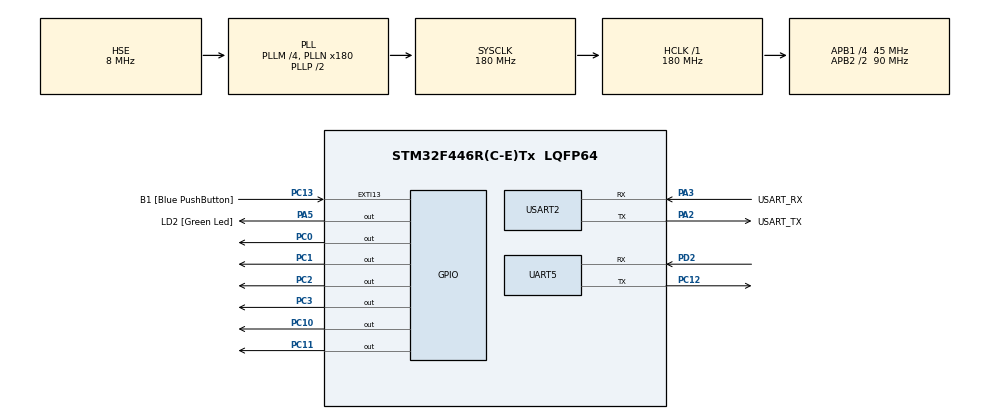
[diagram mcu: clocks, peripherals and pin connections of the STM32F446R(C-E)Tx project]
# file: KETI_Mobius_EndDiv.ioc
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Mcu.Family=STM32F4
Mcu.Name=STM32F446R(C-E)Tx
Mcu.Package=LQFP64
NVIC.PriorityGroup=NVIC_PRIORITYGROUP_0
NVIC.TIM2_IRQn=true\:0\:0\:false\:false\:true
NVIC.TIM3_IRQn=true\:0\:0\:false\:false\:true
NVIC.TIM4_IRQn=true\:0\:0\:false\:false\:true
NVIC.UART5_IRQn=true\:0\:2\:false\:false\:true
NVIC.USART2_IRQn=true\:0\:0\:false\:false\:true
PA13.GPIO_Label=TMS
PA13.Signal=SYS_JTMS-SWDIO
PA14.GPIO_Label=TCK
PA14.Signal=SYS_JTCK-SWCLK
PA2.GPIO_Label=USART_TX
PA2.Mode=Asynchronous
PA2.Signal=USART2_TX
PA3.GPIO_Label=USART_RX
PA3.Mode=Asynchronous
PA3.Signal=USART2_RX
PA5.GPIO_Label=LD2 [Green Led]
PA5.Signal=GPIO_Output
PB3.GPIO_Label=SWO
PB3.Signal=SYS_JTDO-SWO
PC0.Signal=GPIO_Output
PC1.Signal=GPIO_Output
PC10.Signal=GPIO_Output
PC11.Signal=GPIO_Output
PC12.Mode=Asynchronous
PC12.Signal=UART5_TX
PC13.GPIO_Label=B1 [Blue PushButton]
PC13.GPIO_ModeDefaultEXTI=GPIO_MODE_EVT_RISING
PC13.Signal=GPXTI13
PC14-OSC32_IN.Signal=RCC_OSC32_IN
PC15-OSC32_OUT.Signal=RCC_OSC32_OUT
PC2.Signal=GPIO_Output
PC3.Signal=GPIO_Output
PD2.Mode=Asynchronous
PD2.Signal=UART5_RX
PH0-OSC_IN.Mode=HSE-External-Oscillator
PH0-OSC_IN.Signal=RCC_OSC_IN
PH1-OSC_OUT.Mode=HSE-External-Oscillator
PH1-OSC_OUT.Signal=RCC_OSC_OUT
ProjectManager.HeapSize=0x200
ProjectManager.StackSize=0x400
ProjectManager.TargetToolchain=TrueSTUDIO
RCC.AHBFreq_Value=180000000
RCC.APB1CLKDivider=RCC_HCLK_DIV4
RCC.APB1Freq_Value=45000000
RCC.APB1TimFreq_Value=90000000
RCC.APB2CLKDivider=RCC_HCLK_DIV2
RCC.APB2Freq_Value=90000000
RCC.APB2TimFreq_Value=180000000
RCC.CortexFreq_Value=180000000
RCC.FLatency-AdvancedSettings=FLASH_LATENCY_5
RCC.HCLKFreq_Value=180000000
RCC.HSE_VALUE=8000000
RCC.HSI_VALUE=16000000
RCC.LSE_VALUE=32768
RCC.PLLM=4
RCC.PLLN=180
RCC.PLLSourceVirtual=RCC_PLLSOURCE_HSE
RCC.SYSCLKFreq_VALUE=180000000
RCC.SYSCLKSource=RCC_SYSCLKSOURCE_PLLCLK
RCC.USBFreq_Value=180000000
RCC.VCOOutputFreq_Value=360000000
TIM2.Period=29999
TIM2.Prescaler=9000
TIM3.Period=4999
TIM3.Prescaler=9000
TIM4.Period=999
TIM4.Prescaler=9000
VP_TIM2_VS_ClockSourceINT.Mode=Internal
VP_TIM3_VS_ClockSourceINT.Mode=Internal
VP_TIM4_VS_ClockSourceINT.Mode=Internal
board=NUCLEO-F446RE

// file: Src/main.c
/**
  ******************************************************************************
  * File Name          : main.c
  * Description        : Main program body
  ******************************************************************************
  *
  * COPYRIGHT(c) 2016 STMicroelectronics
  *
  * Redistribution and use in source and binary forms, with or without modification,
  * are permitted provided that the following conditions are met:
  *   1. Redistributions of source code must retain the above copyright notice,
  *      this list of conditions and the following disclaimer.
  *   2. Redistributions in binary form must reproduce the above copyright notice,
  *      this list of conditions and the following disclaimer in the documentation
  *      and/or other materials provided with the distribution.
  *   3. Neither the name of STMicroelectronics nor the names of its contributors
  *      may be used to endorse or promote products derived from this software
  *      without specific prior written permission.
  *
  * THIS SOFTWARE IS PROVIDED BY THE COPYRIGHT HOLDERS AND CONTRIBUTORS "AS IS"
  * AND ANY EXPRESS OR IMPLIED WARRANTIES, INCLUDING, BUT NOT LIMITED TO, THE
  * IMPLIED WARRANTIES OF MERCHANTABILITY AND FITNESS FOR A PARTICULAR PURPOSE ARE
  * DISCLAIMED. IN NO EVENT SHALL THE COPYRIGHT HOLDER OR CONTRIBUTORS BE LIABLE
  * FOR ANY DIRECT, INDIRECT, INCIDENTAL, SPECIAL, EXEMPLARY, OR CONSEQUENTIAL
  * DAMAGES (INCLUDING, BUT NOT LIMITED TO, PROCUREMENT OF SUBSTITUTE GOODS OR
  * SERVICES; LOSS OF USE, DATA, OR PROFITS; OR BUSINESS INTERRUPTION) HOWEVER
  * CAUSED AND ON ANY THEORY OF LIABILITY, WHETHER IN CONTRACT, STRICT LIABILITY,
  * OR TORT (INCLUDING NEGLIGENCE OR OTHERWISE) ARISING IN ANY WAY OUT OF THE USE
  * OF THIS SOFTWARE, EVEN IF ADVISED OF THE POSSIBILITY OF SUCH DAMAGE.
  *
  ******************************************************************************
  */
#include "stm32f4xx_hal.h"

/* USER CODE BEGIN Includes */
/* This code created for KETI Mobius platForm. */
/* 2016. 9.20. Lee So Haeng                    */
#include <stdio.h>
#include <string.h>
#include "tlcd.h"
#include "Base64.h"
/* USER CODE END Includes */

TIM_HandleTypeDef htim2;
TIM_HandleTypeDef htim3;
TIM_HandleTypeDef htim4;

UART_HandleTypeDef huart5;
UART_HandleTypeDef huart2;

/* USER CODE BEGIN PV */
/* Private variables ---------------------------------------------------------*/
uint8_t 	Rx_Data2[2];            // uart2 receive data buffer
uint8_t 	Rx_Data5[2];            // uart5 receive data buffer
uint8_t		Rx_Buffer[150];
                             //1234567890123456789012345678901
#define     TLCD_DATA	31
char 		KETI[TLCD_DATA] = "+* KETI Mobius platform Demo *+";
char 		KETIb[TLCD_DATA];

char 		DemoData[3][127] = { "at+data=8001ED:{\"id\":\"NODE1\",\"con\":\"123456789012345678901234567890123456789012345678901234567890123456789012345678901234567\"}\r\n",
							     "at+data=8001ED:{\"id\":\"NODE3\",\"con\":\"123456789012345678901234567890123456789012345678901234567890123456789012345678901234567\"}\r\n",
							     "at+data=8001ED:{\"id\":\"NODE4\",\"con\":\"123456789012345678901234567890123456789012345678901234567890123456789012345678901234567\"}\r\n"
						      };
/*
char 		DemoData[3][79] = {  "at+data=000194:{\"id\":\"NODE1\",\"con\":\"010203040506070809101qaz2wsx3edc4rfhy6y\"}\r\n",
							     "at+data=000194:{\"id\":\"NODE3\",\"con\":\"ABCDEFGHIJKLNMOPQRSTUVWXYZ!@#$%^&*()098\"}\r\n",
							     "at+data=000194:{\"id\":\"NODE4\",\"con\":\"12.34,34.23,05.55,90.88,87.90,1.234,897\"}\r\n"
						      }; */

// 디바이스의 시리얼번호를 확인할것...

volatile uint8_t     	TLCD_ON = 0;   //  Must volatile var!!
volatile uint8_t		TLCD_LS = 0;   //  Must volatile var!!
volatile uint8_t		Transfer2 = 0,Transfer5 = 0, DemoCnt = 0;
uint8_t					cnt,Rx_Data5_cnt = 0;
int 					len, elen;
unsigned char 			*e,*f,dt[105];

/* USER CODE END PV */

void SystemClock_Config(void);
void Error_Handler(void);
static void MX_GPIO_Init(void);
static void MX_TIM2_Init(void);
static void MX_TIM3_Init(void);
static void MX_TIM4_Init(void);
static void MX_UART5_Init(void);
static void MX_USART2_UART_Init(void);

/* USER CODE BEGIN PFP */
/* Private function prototypes -----------------------------------------------*/
void HAL_UART_RxCpltCallback(UART_HandleTypeDef *huart);
void HAL_TIM_PeriodElapsedCallback(TIM_HandleTypeDef *htim);

/* USER CODE END PFP */

/* USER CODE BEGIN 0 */
void HAL_UART_RxCpltCallback(UART_HandleTypeDef *huart)
{
	uint8_t buf_v, n;

	if(huart->Instance==USART2){
		HAL_UART_Transmit(&huart2,(uint8_t *)Rx_Data2, 1,1000000);
		HAL_UART_Receive_IT(&huart2,(uint8_t *)Rx_Data2, 1);
	}
	else if(huart->Instance==UART5){
		if(Rx_Data5_cnt==0) for(n=0;n<150;n++) Rx_Buffer[n] = 0x00;
		buf_v = Rx_Data5[0];
		if(buf_v!='\n' && buf_v!=0x00) {
			Rx_Buffer[Rx_Data5_cnt++] = buf_v;
		}
		else if(buf_v=='\n'){
			Rx_Buffer[Rx_Data5_cnt] = buf_v;
			Transfer5 = 1;
			Rx_Data5_cnt = 0;
		}
		HAL_UART_Receive_IT(&huart5,(uint8_t *)Rx_Data5, 1);
	}
}

void HAL_TIM_PeriodElapsedCallback(TIM_HandleTypeDef *htim)
{
	uint8_t snum = 0;

	if(htim->Instance==TIM2) {       // 1 sec interrupt
		if(DemoCnt==3) DemoCnt = 0;
		//HAL_UART_Transmit(&huart5,(uint8_t *)&DemoData[DemoCnt],79,1000000);
		HAL_UART_Transmit(&huart5,(uint8_t *)&dt,105,1000000);
		DemoCnt++;
	}
	else if(htim->Instance==TIM3) {  // 0.5 sec interrupt
		HAL_GPIO_TogglePin(LD2_GPIO_Port, LD2_Pin);
		if(TLCD_LS==TLCD_DATA) TLCD_LS = 0;
		for(cnt=TLCD_LS;cnt<TLCD_DATA;cnt++) {
			KETIb[snum++] = KETI[cnt];
		}
		for(cnt=0;cnt<TLCD_LS;cnt++) {
			KETIb[snum++] = KETI[cnt];
		}
		TLCD_LS++;
		TLCD_ON = 1;
	}
	else if(htim->Instance==TIM4) {  // 0.1 sec interrupt
		  //HAL_GPIO_TogglePin(LD2_GPIO_Port, LD2_Pin);
	}
}

/* USER CODE END 0 */

int main(void)
{
	unsigned char snd_str[65]= {0x01,0x01,0x02,0x00,};

  /* MCU Configuration----------------------------------------------------------*/

  /* Reset of all peripherals, Initializes the Flash interface and the Systick. */
  HAL_Init();

  /* Configure the system clock */
  SystemClock_Config();

  /* Initialize all configured peripherals */
  MX_GPIO_Init();
  MX_TIM2_Init();
  MX_TIM3_Init();
  MX_TIM4_Init();
  MX_UART5_Init();
  MX_USART2_UART_Init();

  /* USER CODE BEGIN 2 */

  memset(dt,0x00,105);
  memcpy(dt,"at+data=0001A5:",15);
  e = base64_encode(snd_str,65,&elen);
  memcpy(dt+15,e+0,88);
  dt[103] = '\r';
  dt[104] = '\n';

 	//DemoData[0][77] = DemoData[1][77] = DemoData[2][77] = '\r';
 	//DemoData[0][78] = DemoData[1][78] = DemoData[2][78] = '\n';

 	// 1byte가 전송될때마다 인터럽트 발생.
	while(HAL_UART_Receive_IT(&huart2, (uint8_t *)Rx_Data2, 1)!=HAL_OK);
	while(HAL_UART_Receive_IT(&huart5, (uint8_t *)Rx_Data5, 1)!=HAL_OK);
	while(HAL_TIM_Base_Start_IT(&htim2)!=HAL_OK);
	while(HAL_TIM_Base_Start_IT(&htim3)!=HAL_OK);
	while(HAL_TIM_Base_Start_IT(&htim4)!=HAL_OK);

	// LCD사용을 위해 GPIOC를 사용. RS,E, D4,D5,D6,D7
	TLCD_Init(GPIOC,GPIO_PIN_10,GPIO_PIN_11,GPIO_PIN_0,GPIO_PIN_1,GPIO_PIN_2,GPIO_PIN_3);
	TLCD_Puts(1,0,"****************");
	TLCD_Puts(2,0,"* LoRA  Device *");

  /* USER CODE END 2 */
	HAL_UART_Transmit(&huart2,(uint8_t *)"This is \r\n",10,1000000);
  /* Infinite loop */
  while (1)
  {

  /* USER CODE BEGIN 3 */
	  if(TLCD_ON) {
		  TLCD_Puts(1,0,KETIb);
		  TLCD_ON = 0;
	  }
	  HAL_UART_Transmit(&huart2,(uint8_t *)e,88,1000000);
	  HAL_Delay(1000000);
	  // uart5에서 데이터가 전송되면 가공후 usart2로 전송한다.
	  if(Transfer5 == 1) {
		  HAL_UART_Transmit(&huart2,(uint8_t *)Rx_Buffer,strlen((char *)Rx_Buffer),1000000);
		  Transfer5 = 0;
	  }

  }
  /* USER CODE END 3 */

}

/** System Clock Configuration
*/
void SystemClock_Config(void)
{

  RCC_OscInitTypeDef RCC_OscInitStruct;
  RCC_ClkInitTypeDef RCC_ClkInitStruct;

  __HAL_RCC_PWR_CLK_ENABLE();

  __HAL_PWR_VOLTAGESCALING_CONFIG(PWR_REGULATOR_VOLTAGE_SCALE1);

  RCC_OscInitStruct.OscillatorType = RCC_OSCILLATORTYPE_HSE;
  RCC_OscInitStruct.HSEState = RCC_HSE_ON;
  RCC_OscInitStruct.PLL.PLLState = RCC_PLL_ON;
  RCC_OscInitStruct.PLL.PLLSource = RCC_PLLSOURCE_HSE;
  RCC_OscInitStruct.PLL.PLLM = 4;
  RCC_OscInitStruct.PLL.PLLN = 180;
  RCC_OscInitStruct.PLL.PLLP = RCC_PLLP_DIV2;
  RCC_OscInitStruct.PLL.PLLQ = 2;
  RCC_OscInitStruct.PLL.PLLR = 2;
  if (HAL_RCC_OscConfig(&RCC_OscInitStruct) != HAL_OK)
  {
    Error_Handler();
  }

  if (HAL_PWREx_EnableOverDrive() != HAL_OK)
  {
    Error_Handler();
  }

  RCC_ClkInitStruct.ClockType = RCC_CLOCKTYPE_HCLK|RCC_CLOCKTYPE_SYSCLK
                              |RCC_CLOCKTYPE_PCLK1|RCC_CLOCKTYPE_PCLK2;
  RCC_ClkInitStruct.SYSCLKSource = RCC_SYSCLKSOURCE_PLLCLK;
  RCC_ClkInitStruct.AHBCLKDivider = RCC_SYSCLK_DIV1;
  RCC_ClkInitStruct.APB1CLKDivider = RCC_HCLK_DIV4;
  RCC_ClkInitStruct.APB2CLKDivider = RCC_HCLK_DIV2;
  if (HAL_RCC_ClockConfig(&RCC_ClkInitStruct, FLASH_LATENCY_5) != HAL_OK)
  {
    Error_Handler();
  }

  HAL_SYSTICK_Config(HAL_RCC_GetHCLKFreq()/1000000);

  HAL_SYSTICK_CLKSourceConfig(SYSTICK_CLKSOURCE_HCLK);

  /* SysTick_IRQn interrupt configuration */
  HAL_NVIC_SetPriority(SysTick_IRQn, 0, 0);
}

/* TIM2 init function */
static void MX_TIM2_Init(void)
{

  TIM_ClockConfigTypeDef sClockSourceConfig;
  TIM_MasterConfigTypeDef sMasterConfig;

  htim2.Instance = TIM2;
  htim2.Init.Prescaler = 9000;
  htim2.Init.CounterMode = TIM_COUNTERMODE_UP;
  htim2.Init.Period = 49999;
  htim2.Init.ClockDivision = TIM_CLOCKDIVISION_DIV1;
  if (HAL_TIM_Base_Init(&htim2) != HAL_OK)
  {
    Error_Handler();
  }

  sClockSourceConfig.ClockSource = TIM_CLOCKSOURCE_INTERNAL;
  if (HAL_TIM_ConfigClockSource(&htim2, &sClockSourceConfig) != HAL_OK)
  {
    Error_Handler();
  }

  sMasterConfig.MasterOutputTrigger = TIM_TRGO_RESET;
  sMasterConfig.MasterSlaveMode = TIM_MASTERSLAVEMODE_DISABLE;
  if (HAL_TIMEx_MasterConfigSynchronization(&htim2, &sMasterConfig) != HAL_OK)
  {
    Error_Handler();
  }

}

/* TIM3 init function */
static void MX_TIM3_Init(void)
{

  TIM_ClockConfigTypeDef sClockSourceConfig;
  TIM_MasterConfigTypeDef sMasterConfig;

  htim3.Instance = TIM3;
  htim3.Init.Prescaler = 9000;
  htim3.Init.CounterMode = TIM_COUNTERMODE_UP;
  htim3.Init.Period = 4999;
  htim3.Init.ClockDivision = TIM_CLOCKDIVISION_DIV1;
  if (HAL_TIM_Base_Init(&htim3) != HAL_OK)
  {
    Error_Handler();
  }

  sClockSourceConfig.ClockSource = TIM_CLOCKSOURCE_INTERNAL;
  if (HAL_TIM_ConfigClockSource(&htim3, &sClockSourceConfig) != HAL_OK)
  {
    Error_Handler();
  }

  sMasterConfig.MasterOutputTrigger = TIM_TRGO_RESET;
  sMasterConfig.MasterSlaveMode = TIM_MASTERSLAVEMODE_DISABLE;
  if (HAL_TIMEx_MasterConfigSynchronization(&htim3, &sMasterConfig) != HAL_OK)
  {
    Error_Handler();
  }

}

/* TIM4 init function */
static void MX_TIM4_Init(void)
{

  TIM_ClockConfigTypeDef sClockSourceConfig;
  TIM_MasterConfigTypeDef sMasterConfig;

  htim4.Instance = TIM4;
  htim4.Init.Prescaler = 9000;
  htim4.Init.CounterMode = TIM_COUNTERMODE_UP;
  htim4.Init.Period = 999;
  htim4.Init.ClockDivision = TIM_CLOCKDIVISION_DIV1;
  if (HAL_TIM_Base_Init(&htim4) != HAL_OK)
  {
    Error_Handler();
  }

  sClockSourceConfig.ClockSource = TIM_CLOCKSOURCE_INTERNAL;
  if (HAL_TIM_ConfigClockSource(&htim4, &sClockSourceConfig) != HAL_OK)
  {
    Error_Handler();
  }

  sMasterConfig.MasterOutputTrigger = TIM_TRGO_RESET;
  sMasterConfig.MasterSlaveMode = TIM_MASTERSLAVEMODE_DISABLE;
  if (HAL_TIMEx_MasterConfigSynchronization(&htim4, &sMasterConfig) != HAL_OK)
  {
    Error_Handler();
  }

}

/* UART5 init function */
static void MX_UART5_Init(void)
{

  huart5.Instance = UART5;
  huart5.Init.BaudRate = 115200;
  huart5.Init.WordLength = UART_WORDLENGTH_8B;
  huart5.Init.StopBits = UART_STOPBITS_1;
  huart5.Init.Parity = UART_PARITY_NONE;
  huart5.Init.Mode = UART_MODE_TX_RX;
  huart5.Init.HwFlowCtl = UART_HWCONTROL_NONE;
  huart5.Init.OverSampling = UART_OVERSAMPLING_16;
  if (HAL_UART_Init(&huart5) != HAL_OK)
  {
    Error_Handler();
  }

}

/* USART2 init function */
static void MX_USART2_UART_Init(void)
{

  huart2.Instance = USART2;
  huart2.Init.BaudRate = 115200;
  huart2.Init.WordLength = UART_WORDLENGTH_8B;
  huart2.Init.StopBits = UART_STOPBITS_1;
  huart2.Init.Parity = UART_PARITY_NONE;
  huart2.Init.Mode = UART_MODE_TX_RX;
  huart2.Init.HwFlowCtl = UART_HWCONTROL_NONE;
  huart2.Init.OverSampling = UART_OVERSAMPLING_16;
  if (HAL_UART_Init(&huart2) != HAL_OK)
  {
    Error_Handler();
  }

}

/** Configure pins as
        * Analog
        * Input
        * Output
        * EVENT_OUT
        * EXTI
*/
static void MX_GPIO_Init(void)
{

  GPIO_InitTypeDef GPIO_InitStruct;

  /* GPIO Ports Clock Enable */
  __HAL_RCC_GPIOC_CLK_ENABLE();
  __HAL_RCC_GPIOH_CLK_ENABLE();
  __HAL_RCC_GPIOA_CLK_ENABLE();
  __HAL_RCC_GPIOD_CLK_ENABLE();
  __HAL_RCC_GPIOB_CLK_ENABLE();

  /*Configure GPIO pin : B1_Pin */
  GPIO_InitStruct.Pin = B1_Pin;
  GPIO_InitStruct.Mode = GPIO_MODE_EVT_RISING;
  GPIO_InitStruct.Pull = GPIO_NOPULL;
  HAL_GPIO_Init(B1_GPIO_Port, &GPIO_InitStruct);

  /*Configure GPIO pins : PC0 PC1 PC2 PC3
                           PC10 PC11 */
  GPIO_InitStruct.Pin = GPIO_PIN_0|GPIO_PIN_1|GPIO_PIN_2|GPIO_PIN_3
                          |GPIO_PIN_10|GPIO_PIN_11;
  GPIO_InitStruct.Mode = GPIO_MODE_OUTPUT_PP;
  GPIO_InitStruct.Pull = GPIO_NOPULL;
  GPIO_InitStruct.Speed = GPIO_SPEED_FREQ_LOW;
  HAL_GPIO_Init(GPIOC, &GPIO_InitStruct);

  /*Configure GPIO pin : LD2_Pin */
  GPIO_InitStruct.Pin = LD2_Pin;
  GPIO_InitStruct.Mode = GPIO_MODE_OUTPUT_PP;
  GPIO_InitStruct.Pull = GPIO_NOPULL;
  GPIO_InitStruct.Speed = GPIO_SPEED_FREQ_LOW;
  HAL_GPIO_Init(LD2_GPIO_Port, &GPIO_InitStruct);

  /*Configure GPIO pin Output Level */
  HAL_GPIO_WritePin(GPIOC, GPIO_PIN_0|GPIO_PIN_1|GPIO_PIN_2|GPIO_PIN_3
                          |GPIO_PIN_10|GPIO_PIN_11, GPIO_PIN_RESET);

  /*Configure GPIO pin Output Level */
  HAL_GPIO_WritePin(LD2_GPIO_Port, LD2_Pin, GPIO_PIN_RESET);

}

void Error_Handler(void)
{
  while(1)
  {
  }
}

/************************ (C) COPYRIGHT STMicroelectronics *****END OF FILE****/
